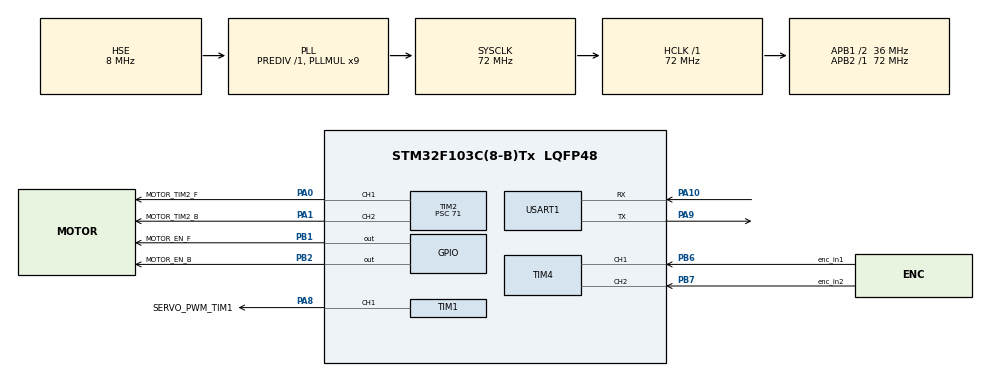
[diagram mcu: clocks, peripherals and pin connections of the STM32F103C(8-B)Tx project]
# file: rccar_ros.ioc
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Mcu.Family=STM32F1
Mcu.Name=STM32F103C(8-B)Tx
Mcu.Package=LQFP48
NVIC.PriorityGroup=NVIC_PRIORITYGROUP_4
NVIC.TIM2_IRQn=true\:0\:0\:false\:false\:true\:true\:true\:true
NVIC.TIM3_IRQn=true\:0\:0\:false\:false\:true\:true\:true\:true
NVIC.USART1_IRQn=true\:0\:0\:false\:false\:true\:true\:true\:true
PA0-WKUP.GPIO_Label=MOTOR_TIM2_F
PA0-WKUP.Signal=S_TIM2_CH1_ETR
PA1.GPIO_Label=MOTOR_TIM2_B
PA1.Signal=S_TIM2_CH2
PA10.Mode=Asynchronous
PA10.Signal=USART1_RX
PA13.Mode=Serial_Wire
PA13.Signal=SYS_JTMS-SWDIO
PA14.Mode=Serial_Wire
PA14.Signal=SYS_JTCK-SWCLK
PA8.GPIO_Label=SERVO_PWM_TIM1
PA8.Signal=S_TIM1_CH1
PA9.Mode=Asynchronous
PA9.Signal=USART1_TX
PB1.GPIO_Label=MOTOR_EN_F
PB1.GPIO_PuPd=GPIO_PULLDOWN
PB1.PinState=GPIO_PIN_RESET
PB1.Signal=GPIO_Output
PB2.GPIO_Label=MOTOR_EN_B
PB2.GPIO_PuPd=GPIO_PULLDOWN
PB2.Signal=GPIO_Output
PB6.GPIO_Label=enc_in1
PB6.Signal=S_TIM4_CH1
PB7.GPIO_Label=enc_in2
PB7.Signal=S_TIM4_CH2
PD0-OSC_IN.Mode=HSE-External-Oscillator
PD0-OSC_IN.Signal=RCC_OSC_IN
PD1-OSC_OUT.Mode=HSE-External-Oscillator
PD1-OSC_OUT.Signal=RCC_OSC_OUT
ProjectManager.HeapSize=0x200
ProjectManager.StackSize=0x400
ProjectManager.TargetToolchain=CMake
RCC.AHBFreq_Value=72000000
RCC.APB1CLKDivider=RCC_HCLK_DIV2
RCC.APB1Freq_Value=36000000
RCC.APB1TimFreq_Value=72000000
RCC.APB2Freq_Value=72000000
RCC.APB2TimFreq_Value=72000000
RCC.HCLKFreq_Value=72000000
RCC.PLLMUL=RCC_PLL_MUL9
RCC.PLLSourceVirtual=RCC_PLLSOURCE_HSE
RCC.SYSCLKFreq_VALUE=72000000
RCC.SYSCLKSource=RCC_SYSCLKSOURCE_PLLCLK
RCC.USBFreq_Value=72000000
SH.S_TIM1_CH1.0=TIM1_CH1,PWM Generation1 CH1
SH.S_TIM2_CH1_ETR.0=TIM2_CH1,PWM Generation1 CH1
SH.S_TIM2_CH2.0=TIM2_CH2,PWM Generation2 CH2
SH.S_TIM4_CH1.0=TIM4_CH1,Encoder_Interface
SH.S_TIM4_CH2.0=TIM4_CH2,Encoder_Interface
TIM1.Channel-PWM\ Generation1\ CH1=TIM_CHANNEL_1
TIM1.Period=12499
TIM1.Prescaler=71
TIM1.Pulse-PWM\ Generation1\ CH1=1050
TIM2.Channel-PWM\ Generation1\ CH1=TIM_CHANNEL_1
TIM2.Channel-PWM\ Generation2\ CH2=TIM_CHANNEL_2
TIM2.Period=999
TIM2.Prescaler=71
TIM3.Period=19999
TIM3.Prescaler=71
TIM4.ClockDivision=TIM_CLOCKDIVISION_DIV1
TIM4.EncoderMode=TIM_ENCODERMODE_TI12
USART1.VirtualMode=VM_ASYNC
VP_TIM1_VS_ClockSourceINT.Mode=Internal
VP_TIM2_VS_ClockSourceINT.Mode=Internal
VP_TIM3_VS_ClockSourceINT.Mode=Internal
board=custom

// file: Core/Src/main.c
/* USER CODE BEGIN Header */
/**
  ******************************************************************************
  * @file           : main.c
  * @brief          : Main program body
  ******************************************************************************
  * @attention
  *
  * Copyright (c) 2026 STMicroelectronics.
  * All rights reserved.
  *
  * This software is licensed under terms that can be found in the LICENSE file
  * in the root directory of this software component.
  * If no LICENSE file comes with this software, it is provided AS-IS.
  *
  ******************************************************************************
  */
/* USER CODE END Header */
#include "main.h"
#include "tim.h"
#include "usart.h"
#include "gpio.h"

/* USER CODE BEGIN Includes */
#include <stdio.h>
#include <stdint.h>
#include "telemetry.h"
#include "control.h"
#include "motor.h"
#include "enc.h"

/* USER CODE END Includes */

/* USER CODE BEGIN PV */
volatile int64_t encoder_count = 0;
/* USER CODE END PV */

void SystemClock_Config(void);

int main(void)
{

  /* MCU Configuration--------------------------------------------------------*/

  /* Reset of all peripherals, Initializes the Flash interface and the Systick. */
  HAL_Init();

  /* Configure the system clock */
  SystemClock_Config();

  /* Initialize all configured peripherals */
  MX_GPIO_Init();
  MX_TIM2_Init();
  MX_USART1_UART_Init();
  MX_TIM1_Init();
  MX_TIM3_Init();
  MX_TIM4_Init();
  /* USER CODE BEGIN 2 */
  HAL_UART_Receive_IT(&huart1, &rx_buffer, 1);
  HAL_TIM_PWM_Start(&htim1, TIM_CHANNEL_1); // servo
  HAL_TIM_PWM_Start(&htim2, TIM_CHANNEL_1); // dc left
  HAL_TIM_PWM_Start(&htim2, TIM_CHANNEL_2); // dc right
  HAL_TIM_Base_Start_IT(&htim3);  // main fnc 50Hz
  HAL_TIM_Encoder_Start(&htim4, TIM_CHANNEL_ALL);
  /* USER CODE END 2 */

  /* Infinite loop */
  while (1)
  {

  }
}

void SystemClock_Config(void)
{
  RCC_OscInitTypeDef RCC_OscInitStruct = {0};
  RCC_ClkInitTypeDef RCC_ClkInitStruct = {0};

  /** Initializes the RCC Oscillators according to the specified parameters
  * in the RCC_OscInitTypeDef structure.
  */
  RCC_OscInitStruct.OscillatorType = RCC_OSCILLATORTYPE_HSE;
  RCC_OscInitStruct.HSEState = RCC_HSE_ON;
  RCC_OscInitStruct.HSEPredivValue = RCC_HSE_PREDIV_DIV1;
  RCC_OscInitStruct.HSIState = RCC_HSI_ON;
  RCC_OscInitStruct.PLL.PLLState = RCC_PLL_ON;
  RCC_OscInitStruct.PLL.PLLSource = RCC_PLLSOURCE_HSE;
  RCC_OscInitStruct.PLL.PLLMUL = RCC_PLL_MUL9;
  if (HAL_RCC_OscConfig(&RCC_OscInitStruct) != HAL_OK)
  {
    Error_Handler();
  }

  /** Initializes the CPU, AHB and APB buses clocks
  */
  RCC_ClkInitStruct.ClockType = RCC_CLOCKTYPE_HCLK|RCC_CLOCKTYPE_SYSCLK
                              |RCC_CLOCKTYPE_PCLK1|RCC_CLOCKTYPE_PCLK2;
  RCC_ClkInitStruct.SYSCLKSource = RCC_SYSCLKSOURCE_PLLCLK;
  RCC_ClkInitStruct.AHBCLKDivider = RCC_SYSCLK_DIV1;
  RCC_ClkInitStruct.APB1CLKDivider = RCC_HCLK_DIV2;
  RCC_ClkInitStruct.APB2CLKDivider = RCC_HCLK_DIV1;

  if (HAL_RCC_ClockConfig(&RCC_ClkInitStruct, FLASH_LATENCY_2) != HAL_OK)
  {
    Error_Handler();
  }
}

/* USER CODE BEGIN 4 */
void HAL_TIM_PeriodElapsedCallback(TIM_HandleTypeDef *htim) {
  if (htim->Instance == TIM3) {   // 50Hz
    encoder_sample();
    telemetry_send_delta(encoder_get_delta());

    servo_set();
    motor_set();
  }
}

// void HAL_GPIO_EXTI_Callback(uint16_t GPIO_Pin) {
//     if (GPIO_Pin == GPIO_PIN_7) {
//         encoder_count++;
//     }
// }
/* USER CODE END 4 */

void Error_Handler(void)
{
  __disable_irq();
  while (1)
  {
  }
}
